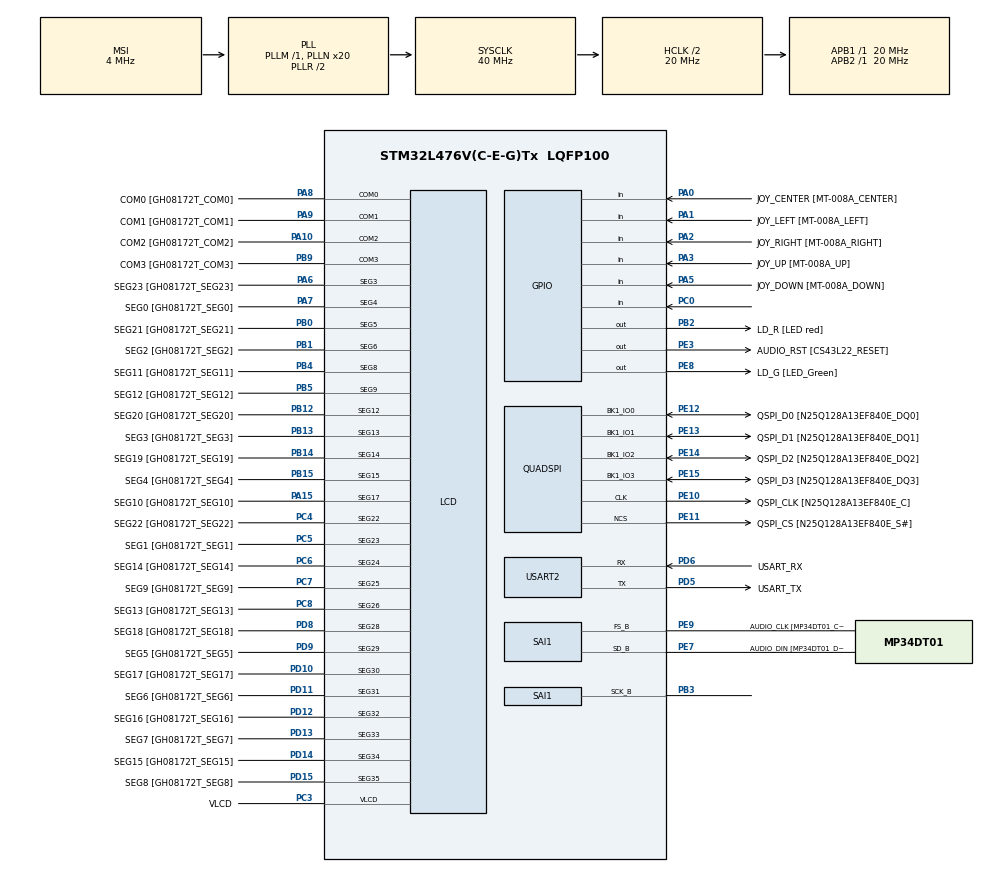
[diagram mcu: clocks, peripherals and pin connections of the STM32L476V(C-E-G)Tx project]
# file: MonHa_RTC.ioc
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Dma.Request0=SAI1_B
Dma.SAI1_B.0.Direction=DMA_MEMORY_TO_PERIPH
Dma.SAI1_B.0.Instance=DMA2_Channel2
Dma.SAI1_B.0.MemDataAlignment=DMA_MDATAALIGN_HALFWORD
Dma.SAI1_B.0.MemInc=DMA_MINC_ENABLE
Dma.SAI1_B.0.Mode=DMA_CIRCULAR
Dma.SAI1_B.0.PeriphDataAlignment=DMA_PDATAALIGN_HALFWORD
Dma.SAI1_B.0.PeriphInc=DMA_PINC_DISABLE
Dma.SAI1_B.0.Priority=DMA_PRIORITY_HIGH
Mcu.Family=STM32L4
Mcu.Name=STM32L476V(C-E-G)Tx
Mcu.Package=LQFP100
NVIC.DMA2_Channel2_IRQn=true\:0\:0\:false\:false\:true\:false\:true
NVIC.PriorityGroup=NVIC_PRIORITYGROUP_4
PA0.GPIO_Label=JOY_CENTER [MT-008A_CENTER]
PA0.GPIO_Mode=GPIO_MODE_INPUT
PA0.GPIO_PuPd=GPIO_PULLDOWN
PA0.Signal=GPIO_Input
PA1.GPIO_Label=JOY_LEFT [MT-008A_LEFT]
PA1.GPIO_Mode=GPIO_MODE_INPUT
PA1.GPIO_PuPd=GPIO_PULLDOWN
PA1.Signal=GPIO_Input
PA10.GPIO_Label=COM2 [GH08172T_COM2]
PA10.GPIO_Mode=GPIO_MODE_AF_PP
PA10.GPIO_PuPd=GPIO_NOPULL
PA10.GPIO_Speed=GPIO_SPEED_FREQ_LOW
PA10.Mode=1/4 Duty Cycle
PA10.Signal=LCD_COM2
PA15\ (JTDI).GPIO_Label=SEG10 [GH08172T_SEG10]
PA15\ (JTDI).GPIO_Mode=GPIO_MODE_AF_PP
PA15\ (JTDI).GPIO_PuPd=GPIO_NOPULL
PA15\ (JTDI).GPIO_Speed=GPIO_SPEED_FREQ_LOW
PA15\ (JTDI).Mode=SEG17
PA15\ (JTDI).Signal=LCD_SEG17
PA2.GPIO_Label=JOY_RIGHT [MT-008A_RIGHT]
PA2.GPIO_Mode=GPIO_MODE_INPUT
PA2.GPIO_PuPd=GPIO_PULLDOWN
PA2.Signal=GPIO_Input
PA3.GPIO_Label=JOY_UP [MT-008A_UP]
PA3.GPIO_Mode=GPIO_MODE_INPUT
PA3.GPIO_PuPd=GPIO_PULLDOWN
PA3.Signal=GPIO_Input
PA5.GPIO_Label=JOY_DOWN [MT-008A_DOWN]
PA5.GPIO_Mode=GPIO_MODE_INPUT
PA5.GPIO_PuPd=GPIO_PULLDOWN
PA5.Signal=GPIO_Input
PA6.GPIO_Label=SEG23 [GH08172T_SEG23]
PA6.GPIO_Mode=GPIO_MODE_AF_PP
PA6.GPIO_PuPd=GPIO_NOPULL
PA6.GPIO_Speed=GPIO_SPEED_FREQ_LOW
PA6.Mode=SEG3
PA6.Signal=LCD_SEG3
PA7.GPIO_Label=SEG0 [GH08172T_SEG0]
PA7.GPIO_Mode=GPIO_MODE_AF_PP
PA7.GPIO_PuPd=GPIO_NOPULL
PA7.GPIO_Speed=GPIO_SPEED_FREQ_LOW
PA7.Mode=SEG4
PA7.Signal=LCD_SEG4
PA8.GPIO_Label=COM0 [GH08172T_COM0]
PA8.GPIO_Mode=GPIO_MODE_AF_PP
PA8.GPIO_PuPd=GPIO_NOPULL
PA8.GPIO_Speed=GPIO_SPEED_FREQ_LOW
PA8.Mode=1/4 Duty Cycle
PA8.Signal=LCD_COM0
PA9.GPIO_Label=COM1 [GH08172T_COM1]
PA9.GPIO_Mode=GPIO_MODE_AF_PP
PA9.GPIO_PuPd=GPIO_NOPULL
PA9.GPIO_Speed=GPIO_SPEED_FREQ_LOW
PA9.Mode=1/4 Duty Cycle
PA9.Signal=LCD_COM1
PB0.GPIO_Label=SEG21 [GH08172T_SEG21]
PB0.GPIO_Mode=GPIO_MODE_AF_PP
PB0.GPIO_PuPd=GPIO_NOPULL
PB0.GPIO_Speed=GPIO_SPEED_FREQ_LOW
PB0.Mode=SEG5
PB0.Signal=LCD_SEG5
PB1.GPIO_Label=SEG2 [GH08172T_SEG2]
PB1.GPIO_Mode=GPIO_MODE_AF_PP
PB1.GPIO_PuPd=GPIO_NOPULL
PB1.GPIO_Speed=GPIO_SPEED_FREQ_LOW
PB1.Mode=SEG6
PB1.Signal=LCD_SEG6
PB12.GPIO_Label=SEG20 [GH08172T_SEG20]
PB12.GPIO_Mode=GPIO_MODE_AF_PP
PB12.GPIO_PuPd=GPIO_NOPULL
PB12.GPIO_Speed=GPIO_SPEED_FREQ_LOW
PB12.Mode=SEG12
PB12.Signal=LCD_SEG12
PB13.GPIO_Label=SEG3 [GH08172T_SEG3]
PB13.GPIO_Mode=GPIO_MODE_AF_PP
PB13.GPIO_PuPd=GPIO_NOPULL
PB13.GPIO_Speed=GPIO_SPEED_FREQ_LOW
PB13.Mode=SEG13
PB13.Signal=LCD_SEG13
PB14.GPIO_Label=SEG19 [GH08172T_SEG19]
PB14.GPIO_Mode=GPIO_MODE_AF_PP
PB14.GPIO_PuPd=GPIO_NOPULL
PB14.GPIO_Speed=GPIO_SPEED_FREQ_LOW
PB14.Mode=SEG14
PB14.Signal=LCD_SEG14
PB15.GPIO_Label=SEG4 [GH08172T_SEG4]
PB15.GPIO_Mode=GPIO_MODE_AF_PP
PB15.GPIO_PuPd=GPIO_NOPULL
PB15.GPIO_Speed=GPIO_SPEED_FREQ_LOW
PB15.Mode=SEG15
PB15.Signal=LCD_SEG15
PB2.GPIO_Label=LD_R [LED red]
PB2.GPIO_ModeDefaultOutputPP=GPIO_MODE_OUTPUT_PP
PB2.GPIO_PuPd=GPIO_PULLUP
PB2.GPIO_Speed=GPIO_SPEED_FREQ_VERY_HIGH
PB2.Signal=GPIO_Output
PB3\ (JTDO-TRACESWO).Mode=SAI_B_Master
PB3\ (JTDO-TRACESWO).Signal=SAI1_SCK_B
PB4\ (NJTRST).GPIO_Label=SEG11 [GH08172T_SEG11]
PB4\ (NJTRST).GPIO_Mode=GPIO_MODE_AF_PP
PB4\ (NJTRST).GPIO_PuPd=GPIO_NOPULL
PB4\ (NJTRST).GPIO_Speed=GPIO_SPEED_FREQ_LOW
PB4\ (NJTRST).Mode=SEG8
PB4\ (NJTRST).Signal=LCD_SEG8
PB5.GPIO_Label=SEG12 [GH08172T_SEG12]
PB5.GPIO_Mode=GPIO_MODE_AF_PP
PB5.GPIO_PuPd=GPIO_NOPULL
PB5.GPIO_Speed=GPIO_SPEED_FREQ_LOW
PB5.Mode=SEG9
PB5.Signal=LCD_SEG9
PB9.GPIO_FM9=__NULL
PB9.GPIO_Label=COM3 [GH08172T_COM3]
PB9.GPIO_Mode=GPIO_MODE_AF_PP
PB9.GPIO_PuPd=GPIO_NOPULL
PB9.GPIO_Speed=GPIO_SPEED_FREQ_LOW
PB9.Mode=1/4 Duty Cycle
PB9.Signal=LCD_COM3
PC0.Signal=GPIO_Input
PC3.GPIO_Label=VLCD
PC3.GPIO_Mode=GPIO_MODE_AF_PP
PC3.GPIO_PuPd=GPIO_NOPULL
PC3.GPIO_Speed=GPIO_SPEED_FREQ_LOW
PC3.Mode=1/4 Duty Cycle
PC3.Signal=LCD_VLCD
PC4.GPIO_Label=SEG22 [GH08172T_SEG22]
PC4.GPIO_Mode=GPIO_MODE_AF_PP
PC4.GPIO_PuPd=GPIO_NOPULL
PC4.GPIO_Speed=GPIO_SPEED_FREQ_LOW
PC4.Mode=SEG22
PC4.Signal=LCD_SEG22
PC5.GPIO_Label=SEG1 [GH08172T_SEG1]
PC5.GPIO_Mode=GPIO_MODE_AF_PP
PC5.GPIO_PuPd=GPIO_NOPULL
PC5.GPIO_Speed=GPIO_SPEED_FREQ_LOW
PC5.Mode=SEG23
PC5.Signal=LCD_SEG23
PC6.GPIO_Label=SEG14 [GH08172T_SEG14]
PC6.GPIO_Mode=GPIO_MODE_AF_PP
PC6.GPIO_PuPd=GPIO_NOPULL
PC6.GPIO_Speed=GPIO_SPEED_FREQ_LOW
PC6.Mode=SEG24
PC6.Signal=LCD_SEG24
PC7.GPIO_Label=SEG9 [GH08172T_SEG9]
PC7.GPIO_Mode=GPIO_MODE_AF_PP
PC7.GPIO_PuPd=GPIO_NOPULL
PC7.GPIO_Speed=GPIO_SPEED_FREQ_LOW
PC7.Mode=SEG25
PC7.Signal=LCD_SEG25
PC8.GPIO_Label=SEG13 [GH08172T_SEG13]
PC8.GPIO_Mode=GPIO_MODE_AF_PP
PC8.GPIO_PuPd=GPIO_NOPULL
PC8.GPIO_Speed=GPIO_SPEED_FREQ_LOW
PC8.Mode=SEG26
PC8.Signal=LCD_SEG26
PD10.GPIO_Label=SEG17 [GH08172T_SEG17]
PD10.GPIO_Mode=GPIO_MODE_AF_PP
PD10.GPIO_PuPd=GPIO_NOPULL
PD10.GPIO_Speed=GPIO_SPEED_FREQ_LOW
PD10.Mode=SEG30
PD10.Signal=LCD_SEG30
PD11.GPIO_Label=SEG6 [GH08172T_SEG6]
PD11.GPIO_Mode=GPIO_MODE_AF_PP
PD11.GPIO_PuPd=GPIO_NOPULL
PD11.GPIO_Speed=GPIO_SPEED_FREQ_LOW
PD11.Mode=SEG31
PD11.Signal=LCD_SEG31
PD12.GPIO_Label=SEG16 [GH08172T_SEG16]
PD12.GPIO_Mode=GPIO_MODE_AF_PP
PD12.GPIO_PuPd=GPIO_NOPULL
PD12.GPIO_Speed=GPIO_SPEED_FREQ_LOW
PD12.Mode=SEG32
PD12.Signal=LCD_SEG32
PD13.GPIO_Label=SEG7 [GH08172T_SEG7]
PD13.GPIO_Mode=GPIO_MODE_AF_PP
PD13.GPIO_PuPd=GPIO_NOPULL
PD13.GPIO_Speed=GPIO_SPEED_FREQ_LOW
PD13.Mode=SEG33
PD13.Signal=LCD_SEG33
PD14.GPIO_Label=SEG15 [GH08172T_SEG15]
PD14.GPIO_Mode=GPIO_MODE_AF_PP
PD14.GPIO_PuPd=GPIO_NOPULL
PD14.GPIO_Speed=GPIO_SPEED_FREQ_LOW
PD14.Mode=SEG34
PD14.Signal=LCD_SEG34
PD15.GPIO_Label=SEG8 [GH08172T_SEG8]
PD15.GPIO_Mode=GPIO_MODE_AF_PP
PD15.GPIO_PuPd=GPIO_NOPULL
PD15.GPIO_Speed=GPIO_SPEED_FREQ_LOW
PD15.Mode=SEG35
PD15.Signal=LCD_SEG35
PD5.GPIO_Label=USART_TX
PD5.GPIO_Mode=GPIO_MODE_AF_PP
PD5.GPIO_PuPd=GPIO_PULLUP
PD5.GPIO_Speed=GPIO_SPEED_FREQ_VERY_HIGH
PD5.Mode=Asynchronous
PD5.Signal=USART2_TX
PD6.GPIO_Label=USART_RX
PD6.GPIO_Mode=GPIO_MODE_AF_PP
PD6.GPIO_PuPd=GPIO_PULLUP
PD6.GPIO_Speed=GPIO_SPEED_FREQ_VERY_HIGH
PD6.Mode=Asynchronous
PD6.Signal=USART2_RX
PD8.GPIO_Label=SEG18 [GH08172T_SEG18]
PD8.GPIO_Mode=GPIO_MODE_AF_PP
PD8.GPIO_PuPd=GPIO_NOPULL
PD8.GPIO_Speed=GPIO_SPEED_FREQ_LOW
PD8.Mode=SEG28
PD8.Signal=LCD_SEG28
PD9.GPIO_Label=SEG5 [GH08172T_SEG5]
PD9.GPIO_Mode=GPIO_MODE_AF_PP
PD9.GPIO_PuPd=GPIO_NOPULL
PD9.GPIO_Speed=GPIO_SPEED_FREQ_LOW
PD9.Mode=SEG29
PD9.Signal=LCD_SEG29
PE10.GPIO_Label=QSPI_CLK [N25Q128A13EF840E_C]
PE10.GPIO_Mode=GPIO_MODE_AF_PP
PE10.GPIO_PuPd=GPIO_NOPULL
PE10.GPIO_Speed=GPIO_SPEED_FREQ_VERY_HIGH
PE10.Mode=Single Bank
PE10.Signal=QUADSPI_CLK
PE11.GPIO_Label=QSPI_CS [N25Q128A13EF840E_S\#]
PE11.GPIO_Mode=GPIO_MODE_AF_PP
PE11.GPIO_PuPd=GPIO_NOPULL
PE11.GPIO_Speed=GPIO_SPEED_FREQ_VERY_HIGH
PE11.Mode=Single Bank
PE11.Signal=QUADSPI_NCS
PE12.GPIO_Label=QSPI_D0 [N25Q128A13EF840E_DQ0]
PE12.GPIO_Mode=GPIO_MODE_AF_PP
PE12.GPIO_PuPd=GPIO_NOPULL
PE12.GPIO_Speed=GPIO_SPEED_FREQ_VERY_HIGH
PE12.Mode=Single Bank
PE12.Signal=QUADSPI_BK1_IO0
PE13.GPIO_Label=QSPI_D1 [N25Q128A13EF840E_DQ1]
PE13.GPIO_Mode=GPIO_MODE_AF_PP
PE13.GPIO_PuPd=GPIO_NOPULL
PE13.GPIO_Speed=GPIO_SPEED_FREQ_VERY_HIGH
PE13.Mode=Single Bank
PE13.Signal=QUADSPI_BK1_IO1
PE14.GPIO_Label=QSPI_D2 [N25Q128A13EF840E_DQ2]
PE14.GPIO_Mode=GPIO_MODE_AF_PP
PE14.GPIO_PuPd=GPIO_NOPULL
PE14.GPIO_Speed=GPIO_SPEED_FREQ_VERY_HIGH
PE14.Mode=Single Bank
PE14.Signal=QUADSPI_BK1_IO2
PE15.GPIO_Label=QSPI_D3 [N25Q128A13EF840E_DQ3]
PE15.GPIO_Mode=GPIO_MODE_AF_PP
PE15.GPIO_PuPd=GPIO_NOPULL
PE15.GPIO_Speed=GPIO_SPEED_FREQ_VERY_HIGH
PE15.Mode=Single Bank
PE15.Signal=QUADSPI_BK1_IO3
PE3.GPIO_Label=AUDIO_RST [CS43L22_RESET]
PE3.GPIO_ModeDefaultOutputPP=GPIO_MODE_OUTPUT_PP
PE3.GPIO_PuPd=GPIO_NOPULL
PE3.GPIO_Speed=GPIO_SPEED_FREQ_HIGH
PE3.Signal=GPIO_Output
PE7.GPIO_Label=AUDIO_DIN [MP34DT01_DOUT]
PE7.GPIO_Mode=GPIO_MODE_AF_PP
PE7.GPIO_PuPd=GPIO_NOPULL
PE7.GPIO_Speed=GPIO_SPEED_FREQ_VERY_HIGH
PE7.Mode=SAI_B_Master
PE7.Signal=SAI1_SD_B
PE8.GPIO_Label=LD_G [LED_Green]
PE8.GPIO_ModeDefaultOutputPP=GPIO_MODE_OUTPUT_PP
PE8.GPIO_PuPd=GPIO_PULLUP
PE8.GPIO_Speed=GPIO_SPEED_FREQ_VERY_HIGH
PE8.Signal=GPIO_Output
PE9.GPIO_Label=AUDIO_CLK [MP34DT01_CLK]
PE9.GPIO_Mode=GPIO_MODE_AF_PP
PE9.GPIO_PuPd=GPIO_NOPULL
PE9.GPIO_Speed=GPIO_SPEED_FREQ_LOW
PE9.Mode=SAI_B_Master
PE9.Signal=SAI1_FS_B
ProjectManager.HeapSize=0x200
ProjectManager.StackSize=0x400
ProjectManager.TargetToolchain=TrueSTUDIO
RCC.ADCFreq_Value=144000000
RCC.AHBCLKDivider=RCC_SYSCLK_DIV2
RCC.AHBFreq_Value=20000000
RCC.APB1Freq_Value=20000000
RCC.APB1TimFreq_Value=20000000
RCC.APB2Freq_Value=20000000
RCC.APB2TimFreq_Value=20000000
RCC.CortexFreq_Value=20000000
RCC.HCLKFreq_Value=20000000
RCC.HSE_VALUE=8000000
RCC.HSI_VALUE=16000000
RCC.MSI_VALUE=4000000
RCC.PLLN=20
RCC.PLLSAI1N=72
RCC.PREFETCH_ENABLE=1
RCC.SYSCLKFreq_VALUE=40000000
RCC.SYSCLKSource=RCC_SYSCLKSOURCE_PLLCLK
RCC.USBFreq_Value=144000000
RCC.VCOOutputFreq_Value=80000000
RTC.Date=23
RTC.Format=RTC_FORMAT_BIN
RTC.Hours=23
RTC.Minutes=59
RTC.Month=RTC_MONTH_APRIL
RTC.Seconds=50
RTC.WeekDay=RTC_WEEKDAY_WEDNESDAY
RTC.Year=19
SAI1.ActiveFrameLength-SAI_B_Master=32
SAI1.AudioFrequency-SAI_B_Master=SAI_AUDIO_FREQUENCY_16K
SAI1.DataSize-SAI_B_Master=SAI_DATASIZE_16
SAI1.ErrorAudioFreq-SAI_B_Master=0.44 %
SAI1.FSDefinition-SAI_B_Master=SAI_FS_CHANNEL_IDENTIFICATION
SAI1.FrameLength-SAI_B_Master=64
SAI1.Instance-SAI_B_Master=SAI$Index_Block_B
SAI1.MClockEnable-SAI_B_Master=SAI_MASTERCLOCK_DISABLE
SAI1.RealAudioFreq-SAI_B_Master=16.071 KHz
SAI1.SlotActive-SAI_B_Master=0x0000FFFF
SAI1.SlotNumber-SAI_B_Master=4
SAI1.VirtualMode-SAI_B_Master=VM_MASTER
SAI1.VirtualSlotActive-SAI_B_Master=SAI_SLOTACTIVE_ALL
USART2.VirtualMode-Asynchronous=VM_ASYNC
VP_RTC_VS_RTC_Activate.Mode=RTC_Enabled
VP_RTC_VS_RTC_Calendar.Mode=RTC_Calendar
board=32L476GDISCOVERY

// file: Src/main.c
/* USER CODE BEGIN Header */
/**
  ******************************************************************************
  * @file           : main.c
  * @brief          : Main program body
  ******************************************************************************
  * @attention
  *
  * <h2><center>&copy; Copyright (c) 2019 STMicroelectronics.
  * All rights reserved.</center></h2>
  *
  * This software component is licensed by ST under BSD 3-Clause license,
  * the "License"; You may not use this file except in compliance with the
  * License. You may obtain a copy of the License at:
  *                        opensource.org/licenses/BSD-3-Clause
  *
  ******************************************************************************
  */
/* USER CODE END Header */

#include "main.h"

LCD_HandleTypeDef hlcd;

QSPI_HandleTypeDef hqspi;

RTC_HandleTypeDef hrtc;

SAI_HandleTypeDef hsai_BlockB1;
DMA_HandleTypeDef hdma_sai1_b;

UART_HandleTypeDef huart2;

/* USER CODE BEGIN PV */
RTC_DateTypeDef RTC_Calendar;
RTC_TimeTypeDef RTC_Time;
/* USER CODE END PV */

void SystemClock_Config(void);
static void MX_GPIO_Init(void);
static void MX_DMA_Init(void);
static void MX_LCD_Init(void);
static void MX_QUADSPI_Init(void);
static void MX_SAI1_Init(void);
static void MX_USART2_UART_Init(void);
static void MX_RTC_Init(void);
/* USER CODE BEGIN PFP */
int _write_uart(int file, char *ptr, int len);
int _sairead();
/* USER CODE END PFP */

/* USER CODE BEGIN 0 */
//*******************************************************************************
//funkcja                                 		_write_uart()
int _write_uart(int file, char *ptr, int len){
	HAL_UART_Transmit(&huart2,ptr,len,50);
	return len;
}

//*******************************************************************************
//funkcja                                 		_sairead()  100% niesprawna
int _sairead(){
	int val=1; //wartoœc
	//HAL_SAI_Receive(hsai_BlockB1,)

	return val;
}
/* USER CODE END 0 */

int main(void)
{
  /* USER CODE BEGIN 1 */
	uint8_t data[50];
	uint16_t size=0;
	int temp1=0,temp2=151900;
	int rtcval[10];
  /* USER CODE END 1 */

  /* MCU Configuration--------------------------------------------------------*/

  /* Reset of all peripherals, Initializes the Flash interface and the Systick. */
  HAL_Init();

  /* Configure the system clock */
  SystemClock_Config();

  /* Initialize all configured peripherals */
  MX_GPIO_Init();
  MX_DMA_Init();
  MX_LCD_Init();
  MX_QUADSPI_Init();
  MX_SAI1_Init();
  MX_USART2_UART_Init();
  MX_RTC_Init();
  /* USER CODE BEGIN 2 */

  RTC_Calendar.Year=19;
  RTC_Calendar.Month=04;
  RTC_Calendar.Date=23;

  HAL_RTC_SetDate(&hrtc,&RTC_Calendar,RTC_FORMAT_BIN);

  HAL_RTC_GetTime(&hrtc,&RTC_Time,RTC_FORMAT_BIN);

  RTC_Time.Hours=23;
  RTC_Time.Minutes=59;
  RTC_Time.Seconds=50;

  HAL_RTC_SetTime(&hrtc,&RTC_Time,RTC_FORMAT_BIN);

  HAL_Delay(2000);
  /* USER CODE END 2 */

  /* Infinite loop */
  while (1)
  {

    /* USER CODE BEGIN 3 */
	  HAL_Delay(1000);
	  HAL_GPIO_TogglePin(LD_G_GPIO_Port, LD_G_Pin);
	  HAL_Delay(1);
	  HAL_GPIO_TogglePin(LD_R_GPIO_Port, LD_R_Pin);
	  HAL_Delay(2);
	  //temp1=_sairead();
	  HAL_RTC_GetTime(&hrtc,&RTC_Time,RTC_FORMAT_BIN);//pobranie do RTC_Time czasu
	  HAL_RTC_GetDate(&hrtc,&RTC_Calendar,RTC_FORMAT_BIN);//pobranie do RTC_Calendar daty
	  //rtcval[0]=;
	  size=sprintf(data,"Czas rtc: %dh\t%dm\t%ds \t  Data rtc:%d.%d.20%d\n",RTC_Time.Hours,RTC_Time.Minutes,RTC_Time.Seconds,RTC_Calendar.Date,RTC_Calendar.Month,RTC_Calendar.Year);
	  _write_uart(&huart2, data, size);
	  size=sprintf(data,"surowy rtc:%d \t \t \t przetworzony %d\n",temp1,temp2);
	  _write_uart(&huart2, data, size);
  }
  /* USER CODE END 3 */
}

void SystemClock_Config(void)
{
  RCC_OscInitTypeDef RCC_OscInitStruct = {0};
  RCC_ClkInitTypeDef RCC_ClkInitStruct = {0};
  RCC_PeriphCLKInitTypeDef PeriphClkInit = {0};

  /** Initializes the CPU, AHB and APB busses clocks
  */
  RCC_OscInitStruct.OscillatorType = RCC_OSCILLATORTYPE_LSI|RCC_OSCILLATORTYPE_MSI;
  RCC_OscInitStruct.LSIState = RCC_LSI_ON;
  RCC_OscInitStruct.MSIState = RCC_MSI_ON;
  RCC_OscInitStruct.MSICalibrationValue = 0;
  RCC_OscInitStruct.MSIClockRange = RCC_MSIRANGE_6;
  RCC_OscInitStruct.PLL.PLLState = RCC_PLL_ON;
  RCC_OscInitStruct.PLL.PLLSource = RCC_PLLSOURCE_MSI;
  RCC_OscInitStruct.PLL.PLLM = 1;
  RCC_OscInitStruct.PLL.PLLN = 20;
  RCC_OscInitStruct.PLL.PLLP = RCC_PLLP_DIV7;
  RCC_OscInitStruct.PLL.PLLQ = RCC_PLLQ_DIV2;
  RCC_OscInitStruct.PLL.PLLR = RCC_PLLR_DIV2;
  if (HAL_RCC_OscConfig(&RCC_OscInitStruct) != HAL_OK)
  {
    Error_Handler();
  }
  /** Initializes the CPU, AHB and APB busses clocks
  */
  RCC_ClkInitStruct.ClockType = RCC_CLOCKTYPE_HCLK|RCC_CLOCKTYPE_SYSCLK
                              |RCC_CLOCKTYPE_PCLK1|RCC_CLOCKTYPE_PCLK2;
  RCC_ClkInitStruct.SYSCLKSource = RCC_SYSCLKSOURCE_PLLCLK;
  RCC_ClkInitStruct.AHBCLKDivider = RCC_SYSCLK_DIV2;
  RCC_ClkInitStruct.APB1CLKDivider = RCC_HCLK_DIV1;
  RCC_ClkInitStruct.APB2CLKDivider = RCC_HCLK_DIV1;

  if (HAL_RCC_ClockConfig(&RCC_ClkInitStruct, FLASH_LATENCY_1) != HAL_OK)
  {
    Error_Handler();
  }
  PeriphClkInit.PeriphClockSelection = RCC_PERIPHCLK_RTC|RCC_PERIPHCLK_USART2
                              |RCC_PERIPHCLK_SAI1;
  PeriphClkInit.Usart2ClockSelection = RCC_USART2CLKSOURCE_PCLK1;
  PeriphClkInit.Sai1ClockSelection = RCC_SAI1CLKSOURCE_PLLSAI1;
  PeriphClkInit.RTCClockSelection = RCC_RTCCLKSOURCE_LSI;
  PeriphClkInit.PLLSAI1.PLLSAI1Source = RCC_PLLSOURCE_MSI;
  PeriphClkInit.PLLSAI1.PLLSAI1M = 1;
  PeriphClkInit.PLLSAI1.PLLSAI1N = 72;
  PeriphClkInit.PLLSAI1.PLLSAI1P = RCC_PLLP_DIV7;
  PeriphClkInit.PLLSAI1.PLLSAI1Q = RCC_PLLQ_DIV2;
  PeriphClkInit.PLLSAI1.PLLSAI1R = RCC_PLLR_DIV2;
  PeriphClkInit.PLLSAI1.PLLSAI1ClockOut = RCC_PLLSAI1_SAI1CLK;
  if (HAL_RCCEx_PeriphCLKConfig(&PeriphClkInit) != HAL_OK)
  {
    Error_Handler();
  }
  /** Configure the main internal regulator output voltage
  */
  if (HAL_PWREx_ControlVoltageScaling(PWR_REGULATOR_VOLTAGE_SCALE1) != HAL_OK)
  {
    Error_Handler();
  }
}

static void MX_LCD_Init(void)
{

  hlcd.Instance = LCD;
  hlcd.Init.Prescaler = LCD_PRESCALER_1;
  hlcd.Init.Divider = LCD_DIVIDER_16;
  hlcd.Init.Duty = LCD_DUTY_1_4;
  hlcd.Init.Bias = LCD_BIAS_1_4;
  hlcd.Init.VoltageSource = LCD_VOLTAGESOURCE_INTERNAL;
  hlcd.Init.Contrast = LCD_CONTRASTLEVEL_0;
  hlcd.Init.DeadTime = LCD_DEADTIME_0;
  hlcd.Init.PulseOnDuration = LCD_PULSEONDURATION_0;
  hlcd.Init.MuxSegment = LCD_MUXSEGMENT_DISABLE;
  hlcd.Init.BlinkMode = LCD_BLINKMODE_OFF;
  hlcd.Init.BlinkFrequency = LCD_BLINKFREQUENCY_DIV8;
  hlcd.Init.HighDrive = LCD_HIGHDRIVE_DISABLE;
  if (HAL_LCD_Init(&hlcd) != HAL_OK)
  {
    Error_Handler();
  }

}

static void MX_QUADSPI_Init(void)
{

  /* QUADSPI parameter configuration*/
  hqspi.Instance = QUADSPI;
  hqspi.Init.ClockPrescaler = 255;
  hqspi.Init.FifoThreshold = 1;
  hqspi.Init.SampleShifting = QSPI_SAMPLE_SHIFTING_NONE;
  hqspi.Init.FlashSize = 1;
  hqspi.Init.ChipSelectHighTime = QSPI_CS_HIGH_TIME_1_CYCLE;
  hqspi.Init.ClockMode = QSPI_CLOCK_MODE_0;
  if (HAL_QSPI_Init(&hqspi) != HAL_OK)
  {
    Error_Handler();
  }

}

static void MX_RTC_Init(void)
{

  RTC_TimeTypeDef sTime = {0};
  RTC_DateTypeDef sDate = {0};

  /** Initialize RTC Only
  */
  hrtc.Instance = RTC;
  hrtc.Init.HourFormat = RTC_HOURFORMAT_24;
  hrtc.Init.AsynchPrediv = 127;
  hrtc.Init.SynchPrediv = 255;
  hrtc.Init.OutPut = RTC_OUTPUT_DISABLE;
  hrtc.Init.OutPutRemap = RTC_OUTPUT_REMAP_NONE;
  hrtc.Init.OutPutPolarity = RTC_OUTPUT_POLARITY_HIGH;
  hrtc.Init.OutPutType = RTC_OUTPUT_TYPE_OPENDRAIN;
  if (HAL_RTC_Init(&hrtc) != HAL_OK)
  {
    Error_Handler();
  }

  /** Initialize RTC and set the Time and Date
  */
  sTime.Hours = 23;
  sTime.Minutes = 59;
  sTime.Seconds = 50;
  sTime.DayLightSaving = RTC_DAYLIGHTSAVING_NONE;
  sTime.StoreOperation = RTC_STOREOPERATION_RESET;
  if (HAL_RTC_SetTime(&hrtc, &sTime, RTC_FORMAT_BIN) != HAL_OK)
  {
    Error_Handler();
  }
  sDate.WeekDay = RTC_WEEKDAY_WEDNESDAY;
  sDate.Month = RTC_MONTH_APRIL;
  sDate.Date = 23;
  sDate.Year = 19;

  if (HAL_RTC_SetDate(&hrtc, &sDate, RTC_FORMAT_BIN) != HAL_OK)
  {
    Error_Handler();
  }

}

static void MX_SAI1_Init(void)
{

  hsai_BlockB1.Instance = SAI1_Block_B;
  hsai_BlockB1.Init.Protocol = SAI_FREE_PROTOCOL;
  hsai_BlockB1.Init.AudioMode = SAI_MODEMASTER_TX;
  hsai_BlockB1.Init.DataSize = SAI_DATASIZE_16;
  hsai_BlockB1.Init.FirstBit = SAI_FIRSTBIT_MSB;
  hsai_BlockB1.Init.ClockStrobing = SAI_CLOCKSTROBING_FALLINGEDGE;
  hsai_BlockB1.Init.Synchro = SAI_ASYNCHRONOUS;
  hsai_BlockB1.Init.OutputDrive = SAI_OUTPUTDRIVE_DISABLE;
  hsai_BlockB1.Init.NoDivider = SAI_MASTERDIVIDER_ENABLE;
  hsai_BlockB1.Init.FIFOThreshold = SAI_FIFOTHRESHOLD_EMPTY;
  hsai_BlockB1.Init.AudioFrequency = SAI_AUDIO_FREQUENCY_16K;
  hsai_BlockB1.Init.SynchroExt = SAI_SYNCEXT_DISABLE;
  hsai_BlockB1.Init.MonoStereoMode = SAI_STEREOMODE;
  hsai_BlockB1.Init.CompandingMode = SAI_NOCOMPANDING;
  hsai_BlockB1.Init.TriState = SAI_OUTPUT_NOTRELEASED;
  hsai_BlockB1.FrameInit.FrameLength = 64;
  hsai_BlockB1.FrameInit.ActiveFrameLength = 32;
  hsai_BlockB1.FrameInit.FSDefinition = SAI_FS_CHANNEL_IDENTIFICATION;
  hsai_BlockB1.FrameInit.FSPolarity = SAI_FS_ACTIVE_LOW;
  hsai_BlockB1.FrameInit.FSOffset = SAI_FS_FIRSTBIT;
  hsai_BlockB1.SlotInit.FirstBitOffset = 0;
  hsai_BlockB1.SlotInit.SlotSize = SAI_SLOTSIZE_DATASIZE;
  hsai_BlockB1.SlotInit.SlotNumber = 4;
  hsai_BlockB1.SlotInit.SlotActive = 0x0000FFFF;
  if (HAL_SAI_Init(&hsai_BlockB1) != HAL_OK)
  {
    Error_Handler();
  }

}

static void MX_USART2_UART_Init(void)
{

  huart2.Instance = USART2;
  huart2.Init.BaudRate = 115200;
  huart2.Init.WordLength = UART_WORDLENGTH_8B;
  huart2.Init.StopBits = UART_STOPBITS_1;
  huart2.Init.Parity = UART_PARITY_NONE;
  huart2.Init.Mode = UART_MODE_TX_RX;
  huart2.Init.HwFlowCtl = UART_HWCONTROL_NONE;
  huart2.Init.OverSampling = UART_OVERSAMPLING_16;
  huart2.Init.OneBitSampling = UART_ONE_BIT_SAMPLE_DISABLE;
  huart2.AdvancedInit.AdvFeatureInit = UART_ADVFEATURE_NO_INIT;
  if (HAL_UART_Init(&huart2) != HAL_OK)
  {
    Error_Handler();
  }

}

static void MX_DMA_Init(void)
{
  /* DMA controller clock enable */
  __HAL_RCC_DMA2_CLK_ENABLE();

  /* DMA interrupt init */
  /* DMA2_Channel2_IRQn interrupt configuration */
  HAL_NVIC_SetPriority(DMA2_Channel2_IRQn, 0, 0);
  HAL_NVIC_EnableIRQ(DMA2_Channel2_IRQn);

}

static void MX_GPIO_Init(void)
{
  GPIO_InitTypeDef GPIO_InitStruct = {0};

  /* GPIO Ports Clock Enable */
  __HAL_RCC_GPIOE_CLK_ENABLE();
  __HAL_RCC_GPIOC_CLK_ENABLE();
  __HAL_RCC_GPIOA_CLK_ENABLE();
  __HAL_RCC_GPIOB_CLK_ENABLE();
  __HAL_RCC_GPIOD_CLK_ENABLE();

  /*Configure GPIO pin Output Level */
  HAL_GPIO_WritePin(GPIOE, AUDIO_RST_Pin|LD_G_Pin, GPIO_PIN_RESET);

  /*Configure GPIO pin Output Level */
  HAL_GPIO_WritePin(LD_R_GPIO_Port, LD_R_Pin, GPIO_PIN_RESET);

  /*Configure GPIO pin : AUDIO_RST_Pin */
  GPIO_InitStruct.Pin = AUDIO_RST_Pin;
  GPIO_InitStruct.Mode = GPIO_MODE_OUTPUT_PP;
  GPIO_InitStruct.Pull = GPIO_NOPULL;
  GPIO_InitStruct.Speed = GPIO_SPEED_FREQ_HIGH;
  HAL_GPIO_Init(AUDIO_RST_GPIO_Port, &GPIO_InitStruct);

  /*Configure GPIO pin : PC0 */
  GPIO_InitStruct.Pin = GPIO_PIN_0;
  GPIO_InitStruct.Mode = GPIO_MODE_INPUT;
  GPIO_InitStruct.Pull = GPIO_NOPULL;
  HAL_GPIO_Init(GPIOC, &GPIO_InitStruct);

  /*Configure GPIO pins : JOY_CENTER_Pin JOY_LEFT_Pin JOY_RIGHT_Pin JOY_UP_Pin
                           JOY_DOWN_Pin */
  GPIO_InitStruct.Pin = JOY_CENTER_Pin|JOY_LEFT_Pin|JOY_RIGHT_Pin|JOY_UP_Pin
                          |JOY_DOWN_Pin;
  GPIO_InitStruct.Mode = GPIO_MODE_INPUT;
  GPIO_InitStruct.Pull = GPIO_PULLDOWN;
  HAL_GPIO_Init(GPIOA, &GPIO_InitStruct);

  /*Configure GPIO pin : LD_R_Pin */
  GPIO_InitStruct.Pin = LD_R_Pin;
  GPIO_InitStruct.Mode = GPIO_MODE_OUTPUT_PP;
  GPIO_InitStruct.Pull = GPIO_PULLUP;
  GPIO_InitStruct.Speed = GPIO_SPEED_FREQ_VERY_HIGH;
  HAL_GPIO_Init(LD_R_GPIO_Port, &GPIO_InitStruct);

  /*Configure GPIO pin : LD_G_Pin */
  GPIO_InitStruct.Pin = LD_G_Pin;
  GPIO_InitStruct.Mode = GPIO_MODE_OUTPUT_PP;
  GPIO_InitStruct.Pull = GPIO_PULLUP;
  GPIO_InitStruct.Speed = GPIO_SPEED_FREQ_VERY_HIGH;
  HAL_GPIO_Init(LD_G_GPIO_Port, &GPIO_InitStruct);

}

void Error_Handler(void)
{
}

/************************ (C) COPYRIGHT STMicroelectronics *****END OF FILE****/
